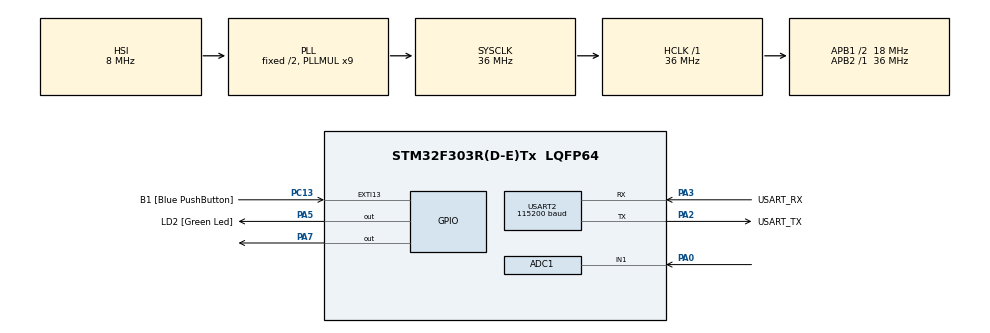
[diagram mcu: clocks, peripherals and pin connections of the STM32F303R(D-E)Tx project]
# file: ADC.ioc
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ADC1.Channel-1\#ChannelRegularConversion=ADC_CHANNEL_1
ADC1.ClockPrescaler=ADC_CLOCK_SYNC_PCLK_DIV2
ADC1.InjNumberOfConversion=0
ADC1.NbrOfConversion=1
ADC1.NbrOfConversionFlag=1
ADC1.Offset-1\#ChannelRegularConversion=0
ADC1.OffsetNumber-1\#ChannelRegularConversion=ADC_OFFSET_NONE
ADC1.Rank-1\#ChannelRegularConversion=1
ADC1.SamplingTime-1\#ChannelRegularConversion=ADC_SAMPLETIME_1CYCLE_5
ADC1.SamplingTimeOPAMP-1\#ChannelRegularConversion=ADC_SAMPLETIME_19CYCLES_5
ADC1.SequencerNbRanks=1
ADC1.master=1
Mcu.Family=STM32F3
Mcu.Name=STM32F303R(D-E)Tx
Mcu.Package=LQFP64
NVIC.PriorityGroup=NVIC_PRIORITYGROUP_0
PA0.Mode=IN1-Single-Ended
PA0.Signal=ADC1_IN1
PA13.GPIO_Label=TMS
PA13.Mode=Serial_Wire
PA13.Signal=SYS_JTMS-SWDIO
PA14.GPIO_Label=TCK
PA14.Mode=Serial_Wire
PA14.Signal=SYS_JTCK-SWCLK
PA2.GPIO_Label=USART_TX
PA2.GPIO_Mode=GPIO_MODE_AF_PP
PA2.GPIO_PuPd=GPIO_NOPULL
PA2.GPIO_Speed=GPIO_SPEED_FREQ_LOW
PA2.Mode=Asynchronous
PA2.Signal=USART2_TX
PA3.GPIO_Label=USART_RX
PA3.GPIO_Mode=GPIO_MODE_AF_PP
PA3.GPIO_PuPd=GPIO_NOPULL
PA3.GPIO_Speed=GPIO_SPEED_FREQ_LOW
PA3.Mode=Asynchronous
PA3.Signal=USART2_RX
PA5.GPIO_Label=LD2 [Green Led]
PA5.GPIO_Mode=GPIO_MODE_OUTPUT_PP
PA5.GPIO_PuPd=GPIO_NOPULL
PA5.GPIO_Speed=GPIO_SPEED_FREQ_LOW
PA5.Signal=GPIO_Output
PA7.Signal=GPIO_Output
PB3.GPIO_Label=SWO
PB3.Signal=SYS_JTDO-TRACESWO
PC13.GPIO_Label=B1 [Blue PushButton]
PC13.GPIO_ModeDefaultEXTI=GPIO_MODE_IT_FALLING
PC13.Signal=GPXTI13
PC14-OSC32_IN.Mode=LSE-External-Oscillator
PC14-OSC32_IN.Signal=RCC_OSC32_IN
PC15-OSC32_OUT.Mode=LSE-External-Oscillator
PC15-OSC32_OUT.Signal=RCC_OSC32_OUT
PF0-OSC_IN.Mode=HSE-External-Clock-Source
PF0-OSC_IN.Signal=RCC_OSC_IN
PF1-OSC_OUT.Signal=RCC_OSC_OUT
ProjectManager.HeapSize=0x200
ProjectManager.StackSize=0x400
ProjectManager.TargetToolchain=STM32CubeIDE
RCC.AHBFreq_Value=36000000
RCC.APB1CLKDivider=RCC_HCLK_DIV2
RCC.APB1Freq_Value=18000000
RCC.APB1TimFreq_Value=36000000
RCC.APB2Freq_Value=36000000
RCC.APB2TimFreq_Value=36000000
RCC.CortexFreq_Value=36000000
RCC.HCLKFreq_Value=36000000
RCC.HSE_VALUE=8000000
RCC.HSI_VALUE=8000000
RCC.PLLM=8
RCC.PLLMUL=RCC_PLL_MUL9
RCC.PLLN=336
RCC.PLLP=RCC_PLLP_DIV4
RCC.PLLQ=7
RCC.RCC_PLLsource_Clock_Source_FROM_HSE=RCC_HSE_PREDIV_DIV2
RCC.SYSCLKFreq_VALUE=36000000
RCC.SYSCLKSourceVirtual=RCC_SYSCLKSOURCE_PLLCLK
RCC.USBFreq_Value=36000000
USART2.BaudRate=115200
USART2.VirtualMode-Asynchronous=VM_ASYNC
board=NUCLEO-F303RE

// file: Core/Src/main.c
/* USER CODE BEGIN Header */
/**
  ******************************************************************************
  * @file           : main.c
  * @brief          : Main program body
  ******************************************************************************
  * @attention
  *
  * Copyright (c) 2025 STMicroelectronics.
  * All rights reserved.
  *
  * This software is licensed under terms that can be found in the LICENSE file
  * in the root directory of this software component.
  * If no LICENSE file comes with this software, it is provided AS-IS.
  *
  ******************************************************************************
  */
/* USER CODE END Header */
#include "main.h"

/* USER CODE BEGIN Includes */
#include <stdio.h>
#include <string.h>
/* USER CODE END Includes */

/* USER CODE BEGIN PTD */
uint8_t convCompleted=0;

void HAL_ADC_ConvCpltCallback(ADC_HandleTypeDef* hadc)
{
	convCompleted = 1;
}

/* USER CODE END PTD */

ADC_HandleTypeDef hadc1;
DMA_HandleTypeDef hdma_adc1;

UART_HandleTypeDef huart2;

/* USER CODE BEGIN PV */
uint16_t lux = 0;
uint16_t pot = 0;
uint16_t rawValues[2];

char msg[20];

/* USER CODE END PV */

void SystemClock_Config(void);
static void MX_GPIO_Init(void);
static void MX_DMA_Init(void);
static void MX_USART2_UART_Init(void);
static void MX_ADC1_Init(void);

int main(void)
{

  /* MCU Configuration--------------------------------------------------------*/

  /* Reset of all peripherals, Initializes the Flash interface and the Systick. */
  HAL_Init();

  /* Configure the system clock */
  SystemClock_Config();

  /* Initialize all configured peripherals */
  MX_GPIO_Init();
  MX_DMA_Init();
  MX_USART2_UART_Init();
  MX_ADC1_Init();
  /* USER CODE BEGIN 2 */
  HAL_ADC_Start_DMA (&hadc1,(uint32_t *) rawValues, 2);
  /* USER CODE END 2 */

  /* Infinite loop */
  while (1)
  {

    /* USER CODE BEGIN 3 */
	  while (!convCompleted);
	  for(uint8_t i=0;i<hadc1.Init.NbrOfConversion;i++){
		  lux = (uint16_t)rawValues[0];
		  pot = (uint16_t)rawValues[1];
	  }

	  sprintf (msg, "Light: %hu \r\t\t",lux);
	  HAL_UART_Transmit(&huart2, (uint8_t *) msg, strlen(msg),HAL_MAX_DELAY);

	  sprintf (msg, "POT: %hu \r\n",pot);
	  HAL_UART_Transmit(&huart2, (uint8_t *) msg, strlen(msg),HAL_MAX_DELAY);

	  HAL_Delay (1000);
  }
  /* USER CODE END 3 */
}

void SystemClock_Config(void)
{
  RCC_OscInitTypeDef RCC_OscInitStruct = {0};
  RCC_ClkInitTypeDef RCC_ClkInitStruct = {0};
  RCC_PeriphCLKInitTypeDef PeriphClkInit = {0};

  /** Initializes the RCC Oscillators according to the specified parameters
  * in the RCC_OscInitTypeDef structure.
  */
  RCC_OscInitStruct.OscillatorType = RCC_OSCILLATORTYPE_HSI;
  RCC_OscInitStruct.HSIState = RCC_HSI_ON;
  RCC_OscInitStruct.HSICalibrationValue = RCC_HSICALIBRATION_DEFAULT;
  RCC_OscInitStruct.PLL.PLLState = RCC_PLL_ON;
  RCC_OscInitStruct.PLL.PLLSource = RCC_PLLSOURCE_HSI;
  RCC_OscInitStruct.PLL.PLLMUL = RCC_PLL_MUL9;
  RCC_OscInitStruct.PLL.PREDIV = RCC_PREDIV_DIV1;
  if (HAL_RCC_OscConfig(&RCC_OscInitStruct) != HAL_OK)
  {
    Error_Handler();
  }

  /** Initializes the CPU, AHB and APB buses clocks
  */
  RCC_ClkInitStruct.ClockType = RCC_CLOCKTYPE_HCLK|RCC_CLOCKTYPE_SYSCLK
                              |RCC_CLOCKTYPE_PCLK1|RCC_CLOCKTYPE_PCLK2;
  RCC_ClkInitStruct.SYSCLKSource = RCC_SYSCLKSOURCE_PLLCLK;
  RCC_ClkInitStruct.AHBCLKDivider = RCC_SYSCLK_DIV1;
  RCC_ClkInitStruct.APB1CLKDivider = RCC_HCLK_DIV2;
  RCC_ClkInitStruct.APB2CLKDivider = RCC_HCLK_DIV1;

  if (HAL_RCC_ClockConfig(&RCC_ClkInitStruct, FLASH_LATENCY_1) != HAL_OK)
  {
    Error_Handler();
  }
  PeriphClkInit.PeriphClockSelection = RCC_PERIPHCLK_USART2|RCC_PERIPHCLK_ADC12;
  PeriphClkInit.Usart2ClockSelection = RCC_USART2CLKSOURCE_PCLK1;
  PeriphClkInit.Adc12ClockSelection = RCC_ADC12PLLCLK_DIV1;
  if (HAL_RCCEx_PeriphCLKConfig(&PeriphClkInit) != HAL_OK)
  {
    Error_Handler();
  }
}

static void MX_ADC1_Init(void)
{

  ADC_MultiModeTypeDef multimode = {0};
  ADC_ChannelConfTypeDef sConfig = {0};

  /** Common config
  */
  hadc1.Instance = ADC1;
  hadc1.Init.ClockPrescaler = ADC_CLOCK_ASYNC_DIV1;
  hadc1.Init.Resolution = ADC_RESOLUTION_12B;
  hadc1.Init.ScanConvMode = ADC_SCAN_ENABLE;
  hadc1.Init.ContinuousConvMode = DISABLE;
  hadc1.Init.DiscontinuousConvMode = DISABLE;
  hadc1.Init.ExternalTrigConvEdge = ADC_EXTERNALTRIGCONVEDGE_NONE;
  hadc1.Init.ExternalTrigConv = ADC_SOFTWARE_START;
  hadc1.Init.DataAlign = ADC_DATAALIGN_RIGHT;
  hadc1.Init.NbrOfConversion = 2;
  hadc1.Init.DMAContinuousRequests = DISABLE;
  hadc1.Init.EOCSelection = ADC_EOC_SINGLE_CONV;
  hadc1.Init.LowPowerAutoWait = DISABLE;
  hadc1.Init.Overrun = ADC_OVR_DATA_OVERWRITTEN;
  if (HAL_ADC_Init(&hadc1) != HAL_OK)
  {
    Error_Handler();
  }

  /** Configure the ADC multi-mode
  */
  multimode.Mode = ADC_MODE_INDEPENDENT;
  if (HAL_ADCEx_MultiModeConfigChannel(&hadc1, &multimode) != HAL_OK)
  {
    Error_Handler();
  }

  /** Configure Regular Channel
  */
  sConfig.Channel = ADC_CHANNEL_1;
  sConfig.Rank = ADC_REGULAR_RANK_1;
  sConfig.SingleDiff = ADC_SINGLE_ENDED;
  sConfig.SamplingTime = ADC_SAMPLETIME_601CYCLES_5;
  sConfig.OffsetNumber = ADC_OFFSET_NONE;
  sConfig.Offset = 0;
  if (HAL_ADC_ConfigChannel(&hadc1, &sConfig) != HAL_OK)
  {
    Error_Handler();
  }

  /** Configure Regular Channel
  */
  sConfig.Channel = ADC_CHANNEL_6;
  sConfig.Rank = ADC_REGULAR_RANK_2;
  if (HAL_ADC_ConfigChannel(&hadc1, &sConfig) != HAL_OK)
  {
    Error_Handler();
  }

}

static void MX_USART2_UART_Init(void)
{

  huart2.Instance = USART2;
  huart2.Init.BaudRate = 115200;
  huart2.Init.WordLength = UART_WORDLENGTH_8B;
  huart2.Init.StopBits = UART_STOPBITS_1;
  huart2.Init.Parity = UART_PARITY_NONE;
  huart2.Init.Mode = UART_MODE_TX_RX;
  huart2.Init.HwFlowCtl = UART_HWCONTROL_NONE;
  huart2.Init.OverSampling = UART_OVERSAMPLING_16;
  huart2.Init.OneBitSampling = UART_ONE_BIT_SAMPLE_DISABLE;
  huart2.AdvancedInit.AdvFeatureInit = UART_ADVFEATURE_NO_INIT;
  if (HAL_UART_Init(&huart2) != HAL_OK)
  {
    Error_Handler();
  }

}

static void MX_DMA_Init(void)
{

  /* DMA controller clock enable */
  __HAL_RCC_DMA1_CLK_ENABLE();

  /* DMA interrupt init */
  /* DMA1_Channel1_IRQn interrupt configuration */
  HAL_NVIC_SetPriority(DMA1_Channel1_IRQn, 0, 0);
  HAL_NVIC_EnableIRQ(DMA1_Channel1_IRQn);

}

static void MX_GPIO_Init(void)
{
  GPIO_InitTypeDef GPIO_InitStruct = {0};

  /* GPIO Ports Clock Enable */
  __HAL_RCC_GPIOC_CLK_ENABLE();
  __HAL_RCC_GPIOF_CLK_ENABLE();
  __HAL_RCC_GPIOA_CLK_ENABLE();
  __HAL_RCC_GPIOB_CLK_ENABLE();

  /*Configure GPIO pin Output Level */
  HAL_GPIO_WritePin(GPIOA, LD2_Pin|GPIO_PIN_7, GPIO_PIN_RESET);

  /*Configure GPIO pin : B1_Pin */
  GPIO_InitStruct.Pin = B1_Pin;
  GPIO_InitStruct.Mode = GPIO_MODE_IT_FALLING;
  GPIO_InitStruct.Pull = GPIO_NOPULL;
  HAL_GPIO_Init(B1_GPIO_Port, &GPIO_InitStruct);

  /*Configure GPIO pins : LD2_Pin PA7 */
  GPIO_InitStruct.Pin = LD2_Pin|GPIO_PIN_7;
  GPIO_InitStruct.Mode = GPIO_MODE_OUTPUT_PP;
  GPIO_InitStruct.Pull = GPIO_NOPULL;
  GPIO_InitStruct.Speed = GPIO_SPEED_FREQ_LOW;
  HAL_GPIO_Init(GPIOA, &GPIO_InitStruct);

}

void Error_Handler(void)
{
  __disable_irq();
  while (1)
  {
  }
}
